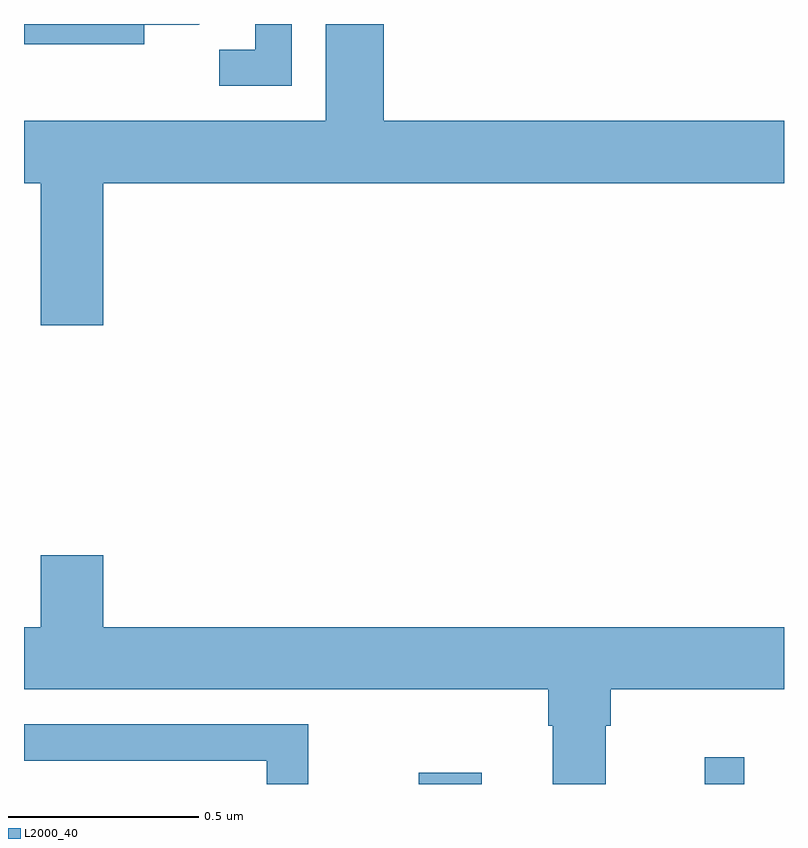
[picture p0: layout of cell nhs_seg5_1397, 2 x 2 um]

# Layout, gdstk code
import gdstk
lib = gdstk.Library(unit=1e-6, precision=1e-09)
def R(c, l, rs):  # rectangles x0, y0, x1, y1
    for r in rs: c.add(gdstk.rectangle(r[:2], r[2:], *l))
def P(c, l, *ps):  # polygons
    for p in ps: c.add(gdstk.Polygon(p, *l))
L2000_40 = (2000, 40)

nhs_seg5_1397 = lib.new_cell('nhs_seg5_1397')
R(nhs_seg5_1397, L2000_40, [(130.039,901.799,130.204,901.828), (130.792,901.799,130.895,901.87)])
P(nhs_seg5_1397, L2000_40, [(129.208,903.38),(131,903.38),(131,903.544),(129.947,903.544),(129.947,903.799),(129.794,903.799),(129.794,903.544),(129,903.544),(129,903.38),(129.044,903.38),(129.044,903.006),(129.208,903.006)],
  [(129.705,903.799),(129.609,903.799),(129.609,903.731),(129.514,903.731),(129.514,903.636),(129.705,903.636)],
  [(129.316,903.797),(129.46,903.797),(129.462,903.799),(129,903.799),(129,903.746),(129.316,903.746)],
  [(130.531,901.952),(130.544,901.952),(130.544,902.048),(131,902.048),(131,902.212),(129.208,902.212),(129.208,902.401),(129.044,902.401),(129.044,902.212),(129,902.212),(129,902.048),(130.379,902.048),(130.379,901.952),(130.391,901.952),(130.391,901.799),(130.531,901.799)],
  [(129.748,901.956),(129,901.956),(129,901.86),(129.639,901.86),(129.639,901.799),(129.748,901.799)])

lib.write_gds('nhs_seg5_1397.gds')
